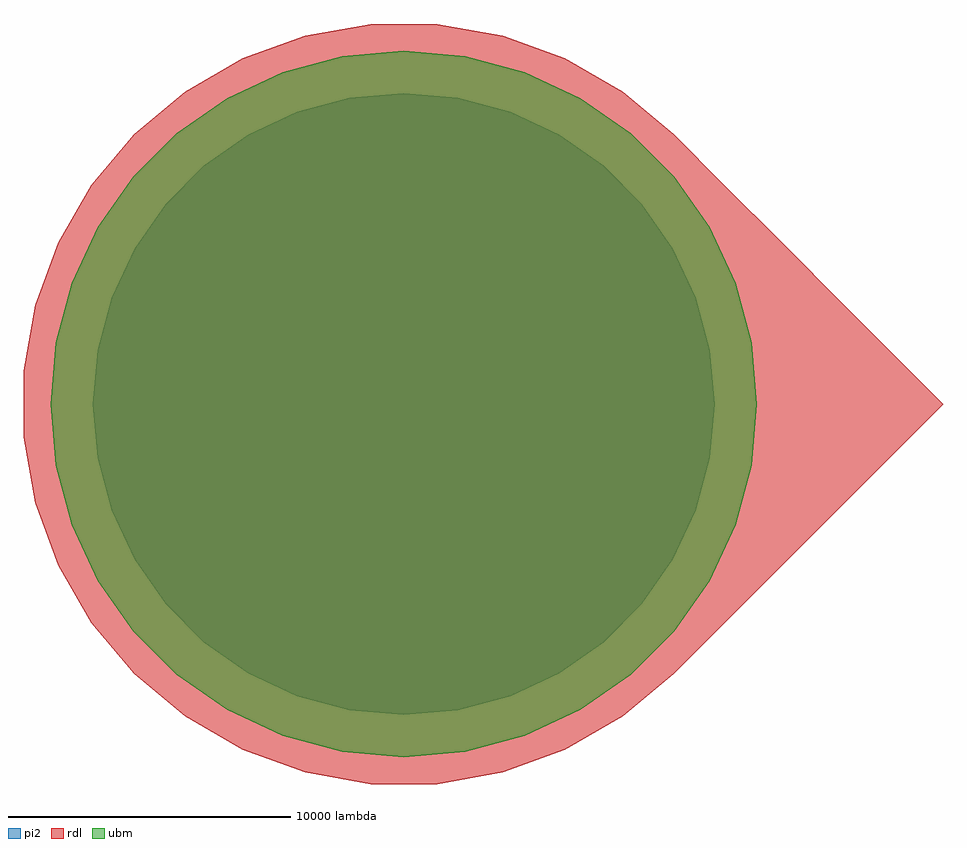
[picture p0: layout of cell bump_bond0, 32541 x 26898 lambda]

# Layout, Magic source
magic
tech micross
<< rdl >>
tri -3494 13040 -1177 13449 se
rect -1177 13040 1177 13449
tri 1177 13040 3494 13449 sw
tri -5705 12235 -3494 13040 se
rect -3494 12235 3494 13040
tri 3494 12235 5705 13040 sw
tri -7743 11059 -5705 12235 se
rect -5705 11059 5705 12235
tri 5705 11059 7743 12235 sw
tri -9546 9546 -7743 11059 se
rect -7743 9546 7743 11059
tri 7743 9546 9546 11059 sw
tri -11059 7743 -9546 9546 se
rect -9546 7743 9546 9546
tri 9546 7743 11349 9546 sw
tri -12235 5705 -11059 7743 se
rect -11059 5705 11349 7743
tri 11349 5705 13387 7743 sw
tri -13040 3494 -12235 5705 se
rect -12235 3494 13387 5705
tri 13387 3494 15598 5705 sw
tri -13449 1177 -13040 3494 se
rect -13040 1177 15598 3494
tri 15598 1177 17915 3494 sw
rect -13449 0 17915 1177
tri 17915 0 19092 1177 sw
rect -13449 -1177 9546 0
tri -13449 -3494 -13040 -1177 ne
rect -13040 -3494 9546 -1177
tri -13040 -5705 -12235 -3494 ne
rect -12235 -5705 9546 -3494
tri -12235 -7743 -11059 -5705 ne
rect -11059 -7743 9546 -5705
tri -11059 -9546 -9546 -7743 ne
rect -9546 -9546 9546 -7743
tri 9546 -9546 19092 0 nw
tri -9546 -11059 -7743 -9546 ne
rect -7743 -11059 7743 -9546
tri 7743 -11059 9546 -9546 nw
tri -7743 -12235 -5705 -11059 ne
rect -5705 -12235 5705 -11059
tri 5705 -12235 7743 -11059 nw
tri -5705 -13040 -3494 -12235 ne
rect -3494 -13040 3494 -12235
tri 3494 -13040 5705 -12235 nw
tri -3494 -13449 -1177 -13040 ne
rect -1177 -13449 1177 -13040
tri 1177 -13449 3494 -13040 nw
<< pi2 >>
tri -1910 10833 0 11000 se
tri 0 10833 1910 11000 sw
tri -3762 10337 -1910 10833 se
rect -1910 10337 1910 10833
tri 1910 10337 3762 10833 sw
tri -5500 9526 -3762 10337 se
rect -3762 9526 3762 10337
tri 3762 9526 5500 10337 sw
tri -7071 8426 -5500 9526 se
rect -5500 8426 5500 9526
tri 5500 8426 7071 9526 sw
tri -8426 7071 -7071 8426 se
rect -7071 7071 7071 8426
tri 7071 7071 8426 8426 sw
tri -9526 5500 -8426 7071 se
rect -8426 5500 8426 7071
tri 8426 5500 9526 7071 sw
tri -10337 3762 -9526 5500 se
rect -9526 3762 9526 5500
tri 9526 3762 10337 5500 sw
tri -10833 1910 -10337 3762 se
rect -10337 1910 10337 3762
tri 10337 1910 10833 3762 sw
tri -11000 0 -10833 1910 se
tri -11000 -1910 -10833 0 ne
rect -10833 -1910 10833 1910
tri 10833 0 11000 1910 sw
tri 10833 -1910 11000 0 nw
tri -10833 -3762 -10337 -1910 ne
rect -10337 -3762 10337 -1910
tri 10337 -3762 10833 -1910 nw
tri -10337 -5500 -9526 -3762 ne
rect -9526 -5500 9526 -3762
tri 9526 -5500 10337 -3762 nw
tri -9526 -7071 -8426 -5500 ne
rect -8426 -7071 8426 -5500
tri 8426 -7071 9526 -5500 nw
tri -8426 -8426 -7071 -7071 ne
rect -7071 -8426 7071 -7071
tri 7071 -8426 8426 -7071 nw
tri -7071 -9526 -5500 -8426 ne
rect -5500 -9526 5500 -8426
tri 5500 -9526 7071 -8426 nw
tri -5500 -10337 -3762 -9526 ne
rect -3762 -10337 3762 -9526
tri 3762 -10337 5500 -9526 nw
tri -3762 -10833 -1910 -10337 ne
rect -1910 -10833 1910 -10337
tri 1910 -10833 3762 -10337 nw
tri -1910 -11000 0 -10833 ne
tri 0 -11000 1910 -10833 nw
<< ubm >>
tri -2171 12310 0 12500 se
tri 0 12310 2171 12500 sw
tri -4275 11746 -2171 12310 se
rect -2171 11746 2171 12310
tri 2171 11746 4275 12310 sw
tri -6250 10825 -4275 11746 se
rect -4275 10825 4275 11746
tri 4275 10825 6250 11746 sw
tri -8035 9576 -6250 10825 se
rect -6250 9576 6250 10825
tri 6250 9576 8035 10825 sw
tri -9576 8035 -8035 9576 se
rect -8035 8035 8035 9576
tri 8035 8035 9576 9576 sw
tri -10825 6250 -9576 8035 se
rect -9576 6250 9576 8035
tri 9576 6250 10825 8035 sw
tri -11746 4275 -10825 6250 se
rect -10825 4275 10825 6250
tri 10825 4275 11746 6250 sw
tri -12310 2171 -11746 4275 se
rect -11746 2171 11746 4275
tri 11746 2171 12310 4275 sw
tri -12500 0 -12310 2171 se
tri -12500 -2171 -12310 0 ne
rect -12310 -2171 12310 2171
tri 12310 0 12500 2171 sw
tri 12310 -2171 12500 0 nw
tri -12310 -4275 -11746 -2171 ne
rect -11746 -4275 11746 -2171
tri 11746 -4275 12310 -2171 nw
tri -11746 -6250 -10825 -4275 ne
rect -10825 -6250 10825 -4275
tri 10825 -6250 11746 -4275 nw
tri -10825 -8035 -9576 -6250 ne
rect -9576 -8035 9576 -6250
tri 9576 -8035 10825 -6250 nw
tri -9576 -9576 -8035 -8035 ne
rect -8035 -9576 8035 -8035
tri 8035 -9576 9576 -8035 nw
tri -8035 -10825 -6250 -9576 ne
rect -6250 -10825 6250 -9576
tri 6250 -10825 8035 -9576 nw
tri -6250 -11746 -4275 -10825 ne
rect -4275 -11746 4275 -10825
tri 4275 -11746 6250 -10825 nw
tri -4275 -12310 -2171 -11746 ne
rect -2171 -12310 2171 -11746
tri 2171 -12310 4275 -11746 nw
tri -2171 -12500 0 -12310 ne
tri 0 -12500 2171 -12310 nw
<< properties >>
string FIXED_BBOX -13500 -13500 13500 13500
<< end >>
